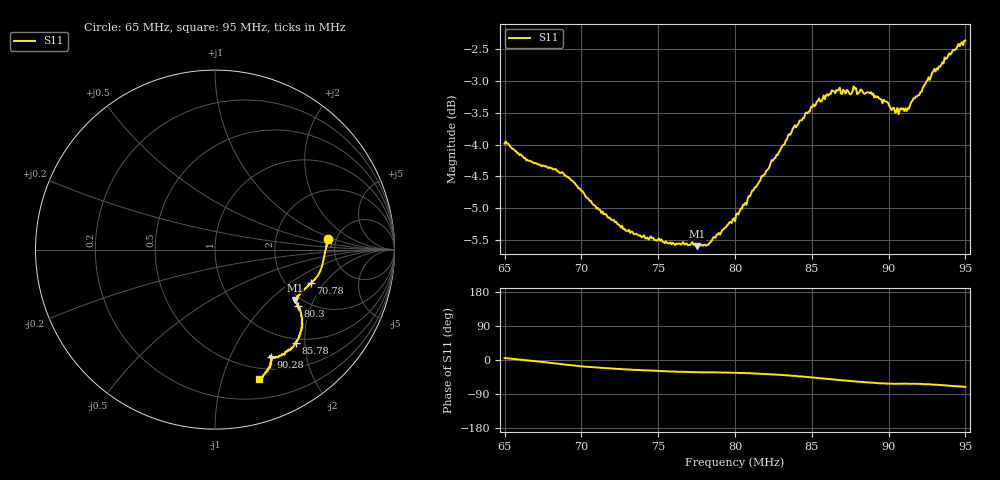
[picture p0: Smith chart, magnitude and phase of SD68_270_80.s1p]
! NanoVNA-App
! Date: 2025-08-09 13:34:36
! Start: 65MHz Stop: 95MHz Points: 401
! S-Parameter data: F S11
# Hz S RI R 50
!  Frequency  S11_Real  S11_Imag
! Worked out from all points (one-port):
!   401 points, 65 MHz to 95 MHz, reference 50 ohm
!   lowest |S11| = -5.6 dB at 77.53 MHz (marker M1), VSWR 3.21, Z = 93.4 - j72.2 ohm
!   |S11| at or under -10 dB: nowhere
!   S11 on the Smith chart (normalised r, x): 65 MHz: 4.28, +0.81; 70.78 MHz: 2.69, -1.49; 80.3 MHz: 1.77, -1.62; 85.78 MHz: 0.91, -1.82; 90.28 MHz: 0.66, -1.44; 95 MHz: 0.39, -1.33
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6.5e7  0.6296 0.0567
6.6425e7  0.6129 -0.00904
6.875e7  0.5891 -0.115
6.98e7  0.5609 -0.1586
7.0775e7  0.5336 -0.1878
7.25e7  0.4988 -0.2186
7.4075e7  0.476 -0.2445
7.625e7  0.4522 -0.27
7.7525e7  0.4438 -0.28
7.8275e7  0.4431 -0.2837
8e7  0.4567 -0.3047
8.03e7  0.4626 -0.3141
8.195e7  0.479 -0.3577
8.2775e7  0.4827 -0.3873
8.375e7  0.4829 -0.4333
8.51e7  0.4683 -0.4913
8.5775e7  0.4514 -0.5218
8.645e7  0.4313 -0.5449
8.75e7  0.3928 -0.5686
8.78e7  0.3869 -0.581
8.885e7  0.3474 -0.6008
8.9825e7  0.3169 -0.6042
9.0275e7  0.312 -0.5975
9.125e7  0.3105 -0.5981
9.1775e7  0.3154 -0.6121
9.2675e7  0.3091 -0.6386
9.3575e7  0.2878 -0.672
9.5e7  0.2479 -0.7207
